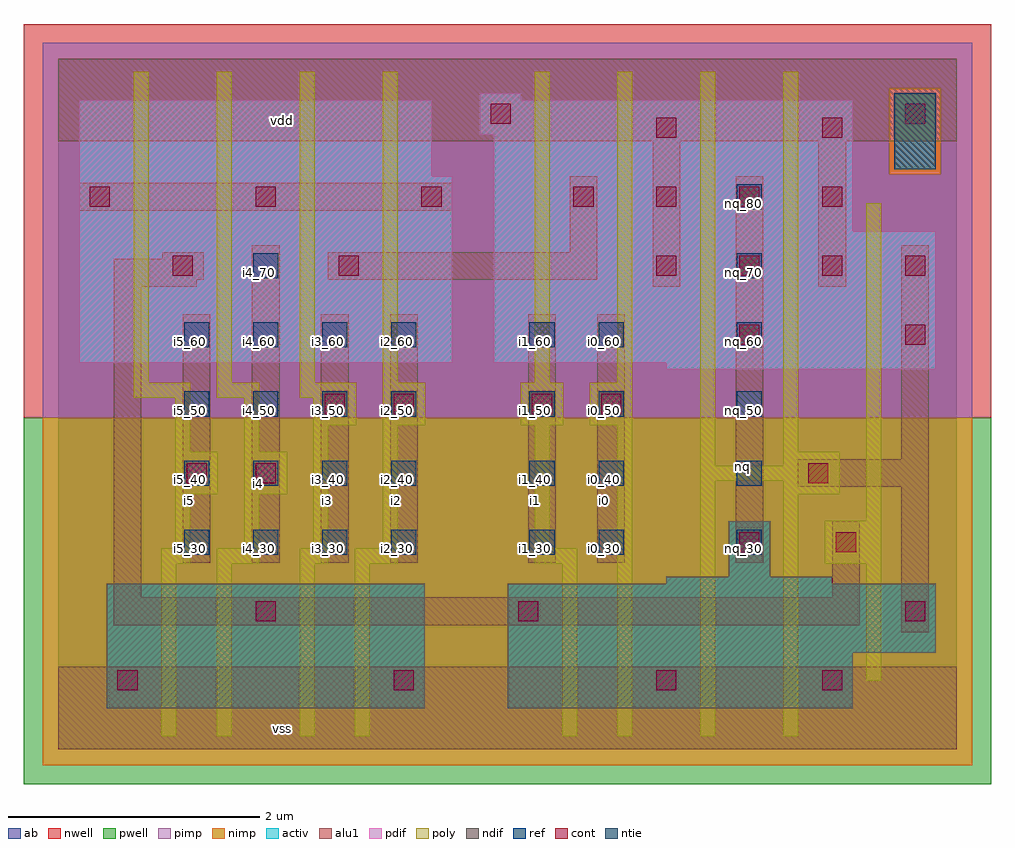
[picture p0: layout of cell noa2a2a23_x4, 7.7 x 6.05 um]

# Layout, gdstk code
import gdstk
lib = gdstk.Library(unit=1e-6, precision=2.5e-09)
def R(c, l, rs):  # rectangles x0, y0, x1, y1
    for r in rs: c.add(gdstk.rectangle(r[:2], r[2:], *l))
def A(c, l, x, y, w, h, nx, ny, dx, dy):  # array of equal rectangles
    R(c, l, [(x+i*dx, y+j*dy, x+i*dx+w, y+j*dy+h) for i in range(nx) for j in range(ny)])
ndif = (3, 0)
pdif = (4, 0)
ntie = (5, 0)
ref = (24, 0)
cont = (25, 0)
pwell = (41, 0)
nwell = (42, 0)
activ = (43, 0)
pimp = (44, 0)
nimp = (45, 0)
poly = (46, 0)
alu1 = (49, 0)
ab = (63, 0)

noa2a2a23_x4 = lib.new_cell('noa2a2a23_x4')
R(noa2a2a23_x4, ndif, [(0.385,0.33,2.915,1.32), (3.575,0.33,6.325,0.77), (3.575,0.77,6.985,1.32), (4.84,1.32,6.16,1.375), (5.335,1.375,5.665,1.815)])
R(noa2a2a23_x4, pdif, [(4.84,3.025,6.985,3.08), (0.165,3.08,3.135,4.565), (3.465,3.08,6.985,4.125), (3.465,4.125,6.325,4.895), (0.165,4.565,2.97,5.17), (3.355,4.895,6.325,5.17), (3.355,5.17,3.685,5.225)])
R(noa2a2a23_x4, ntie, [(6.655,4.62,6.985,5.225)])
A(noa2a2a23_x4, ref, 1, 1.55, 0.2, 0.2, 4, 4, 0.55, 0.55)
A(noa2a2a23_x4, ref, 3.75, 1.55, 0.2, 0.2, 1, 4, 0, 0.55)
A(noa2a2a23_x4, ref, 4.3, 1.55, 0.2, 0.2, 1, 4, 0, 0.55)
A(noa2a2a23_x4, ref, 5.4, 1.55, 0.2, 0.2, 1, 6, 0, 0.55)
R(noa2a2a23_x4, ref, [(1.55,3.75,1.75,3.95)])
A(noa2a2a23_x4, cont, 4.76, 3.77, 0.16, 0.16, 4, 1, 0.66, 0)
A(noa2a2a23_x4, cont, 0.25, 4.32, 0.16, 0.16, 3, 1, 1.32, 0)
A(noa2a2a23_x4, cont, 4.1, 4.32, 0.16, 0.16, 4, 1, 0.66, 0)
R(noa2a2a23_x4, cont, [(0.47,0.47,0.63,0.63), (2.67,0.47,2.83,0.63), (4.76,0.47,4.92,0.63), (6.08,0.47,6.24,0.63), (1.57,1.02,1.73,1.18), (3.66,1.02,3.82,1.18), (6.74,1.02,6.9,1.18), (5.42,1.57,5.58,1.73), (6.19,1.57,6.35,1.73), (1.02,2.12,1.18,2.28), (1.57,2.12,1.73,2.28), (5.97,2.12,6.13,2.28), (2.12,2.67,2.28,2.83), (2.67,2.67,2.83,2.83), (3.77,2.67,3.93,2.83), (4.32,2.67,4.48,2.83), (5.42,3.22,5.58,3.38), (6.74,3.22,6.9,3.38), (0.91,3.77,1.07,3.93), (2.23,3.77,2.39,3.93), (4.76,4.87,4.92,5.03), (6.08,4.87,6.24,5.03), (3.44,4.98,3.6,5.14), (6.74,4.98,6.9,5.14)])
R(noa2a2a23_x4, pwell, [(-0.275,-0.275,7.425,2.64)])
R(noa2a2a23_x4, nwell, [(-0.275,2.64,7.425,5.775)])
R(noa2a2a23_x4, activ, [(0.385,0.33,2.915,1.32), (3.575,0.33,6.325,0.77), (3.575,0.77,6.985,1.32), (4.84,1.32,6.16,1.375), (5.335,1.375,5.665,1.815), (4.84,3.025,6.985,3.08), (0.165,3.08,3.135,4.565), (3.465,3.08,6.985,4.125), (3.465,4.125,6.325,4.895), (0.165,4.565,2.97,5.17), (6.655,4.62,6.985,5.225), (3.355,4.895,6.325,5.17), (3.355,5.17,3.685,5.225)])
R(noa2a2a23_x4, pimp, [(-0.125,2.64,7.275,4.58), (-0.125,4.58,6.615,5.265), (7.025,4.58,7.275,5.265), (-0.125,5.265,7.275,5.625)])
R(noa2a2a23_x4, nimp, [(-0.125,-0.125,7.275,2.64), (6.615,4.58,7.025,5.265)])
A(noa2a2a23_x4, poly, 0.6, 2.92, 0.12, 2.475, 4, 1, 0.66, 0)
R(noa2a2a23_x4, poly, [(0.82,0.105,0.94,1.48), (1.26,0.105,1.38,1.48), (1.92,0.105,2.04,1.48), (2.36,0.105,2.48,1.48), (4.01,0.105,4.13,1.48), (4.45,0.105,4.57,2.58), (5.11,0.105,5.23,2.14), (5.77,0.105,5.89,2.03), (6.43,0.545,6.55,1.48), (0.82,1.48,1.05,1.6), (1.26,1.48,1.6,1.6), (1.92,1.48,2.15,1.6), (2.36,1.48,2.7,1.6), (3.79,1.48,4.13,1.6), (6.1,1.48,6.55,1.82), (0.93,1.6,1.05,2.03), (1.48,1.6,1.6,2.03), (2.03,1.6,2.15,2.58), (2.58,1.6,2.7,2.58), (3.79,1.6,3.91,2.58), (6.43,1.82,6.55,4.35), (0.93,2.03,1.27,2.37), (1.48,2.03,1.82,2.37), (5.77,2.03,6.22,2.14), (5.11,2.14,6.22,2.26), (5.11,2.26,5.23,5.395), (5.77,2.26,6.22,2.37), (0.93,2.37,1.05,2.8), (1.48,2.37,1.6,2.8), (5.77,2.37,5.89,5.395), (2.03,2.58,2.37,2.8), (2.58,2.58,2.92,2.92), (3.68,2.58,4.02,2.92), (4.23,2.58,4.57,2.92), (0.6,2.8,1.05,2.92), (1.26,2.8,1.6,2.92), (1.92,2.8,2.37,2.92), (3.79,2.92,3.91,5.395), (4.45,2.92,4.57,5.395)])
R(noa2a2a23_x4, alu1, [(0,0,7.15,0.66), (6.71,0.935,6.93,2.09), (0.44,0.99,6.38,1.21), (0.44,1.21,0.66,3.685), (6.16,1.21,6.38,1.815), (0.99,1.485,1.21,3.465), (1.54,1.485,1.76,4.015), (2.09,1.485,2.31,3.465), (2.64,1.485,2.86,3.465), (3.74,1.485,3.96,3.465), (4.29,1.485,4.51,3.465), (5.39,1.485,5.61,4.565), (5.885,2.09,6.93,2.31), (6.71,2.31,6.93,4.015), (0.44,3.685,1.1,3.74), (4.73,3.685,4.95,4.84), (6.05,3.685,6.27,4.84), (0.44,3.74,1.155,3.905), (2.145,3.74,4.29,3.96), (0.825,3.905,1.155,3.96), (4.07,3.96,4.29,4.565), (0.165,4.29,3.135,4.51), (0,4.84,7.15,5.5)])
R(noa2a2a23_x4, ab, [(0,0,7.15,5.5)])
noa2a2a23_x4.add(gdstk.Label('vss', (1.7875,0.165), layer=49, texttype=0))
noa2a2a23_x4.add(gdstk.Label('nq', (5.445,2.255), layer=49, texttype=0))
noa2a2a23_x4.add(gdstk.Label('i0', (4.345,1.98), layer=49, texttype=0))
noa2a2a23_x4.add(gdstk.Label('i1', (3.795,1.98), layer=49, texttype=0))
noa2a2a23_x4.add(gdstk.Label('i2', (2.695,1.98), layer=49, texttype=0))
noa2a2a23_x4.add(gdstk.Label('i3', (2.145,1.98), layer=49, texttype=0))
noa2a2a23_x4.add(gdstk.Label('i4', (1.595,2.1175), layer=49, texttype=0))
noa2a2a23_x4.add(gdstk.Label('i5', (1.045,1.98), layer=49, texttype=0))
noa2a2a23_x4.add(gdstk.Label('vdd', (1.7875,5.005), layer=49, texttype=0))
noa2a2a23_x4.add(gdstk.Label('nq_80', (5.45,4.35), layer=24, texttype=0))
noa2a2a23_x4.add(gdstk.Label('nq_30', (5.45,1.6), layer=24, texttype=0))
noa2a2a23_x4.add(gdstk.Label('nq_70', (5.45,3.8), layer=24, texttype=0))
noa2a2a23_x4.add(gdstk.Label('nq_60', (5.45,3.25), layer=24, texttype=0))
noa2a2a23_x4.add(gdstk.Label('nq_50', (5.45,2.7), layer=24, texttype=0))
noa2a2a23_x4.add(gdstk.Label('nq_40', (5.45,2.15), layer=24, texttype=0))
noa2a2a23_x4.add(gdstk.Label('i0_30', (4.35,1.6), layer=24, texttype=0))
noa2a2a23_x4.add(gdstk.Label('i0_60', (4.35,3.25), layer=24, texttype=0))
noa2a2a23_x4.add(gdstk.Label('i1_60', (3.8,3.25), layer=24, texttype=0))
noa2a2a23_x4.add(gdstk.Label('i1_50', (3.8,2.7), layer=24, texttype=0))
noa2a2a23_x4.add(gdstk.Label('i1_30', (3.8,1.6), layer=24, texttype=0))
noa2a2a23_x4.add(gdstk.Label('i1_40', (3.8,2.15), layer=24, texttype=0))
noa2a2a23_x4.add(gdstk.Label('i0_50', (4.35,2.7), layer=24, texttype=0))
noa2a2a23_x4.add(gdstk.Label('i0_40', (4.35,2.15), layer=24, texttype=0))
noa2a2a23_x4.add(gdstk.Label('i4_70', (1.6,3.8), layer=24, texttype=0))
noa2a2a23_x4.add(gdstk.Label('i4_60', (1.6,3.25), layer=24, texttype=0))
noa2a2a23_x4.add(gdstk.Label('i4_50', (1.6,2.7), layer=24, texttype=0))
noa2a2a23_x4.add(gdstk.Label('i4_40', (1.6,2.15), layer=24, texttype=0))
noa2a2a23_x4.add(gdstk.Label('i4_30', (1.6,1.6), layer=24, texttype=0))
noa2a2a23_x4.add(gdstk.Label('i3_40', (2.15,2.15), layer=24, texttype=0))
noa2a2a23_x4.add(gdstk.Label('i2_60', (2.7,3.25), layer=24, texttype=0))
noa2a2a23_x4.add(gdstk.Label('i2_50', (2.7,2.7), layer=24, texttype=0))
noa2a2a23_x4.add(gdstk.Label('i2_40', (2.7,2.15), layer=24, texttype=0))
noa2a2a23_x4.add(gdstk.Label('i2_30', (2.7,1.6), layer=24, texttype=0))
noa2a2a23_x4.add(gdstk.Label('i3_60', (2.15,3.25), layer=24, texttype=0))
noa2a2a23_x4.add(gdstk.Label('i3_50', (2.15,2.7), layer=24, texttype=0))
noa2a2a23_x4.add(gdstk.Label('i3_30', (2.15,1.6), layer=24, texttype=0))
noa2a2a23_x4.add(gdstk.Label('i5_30', (1.05,1.6), layer=24, texttype=0))
noa2a2a23_x4.add(gdstk.Label('i5_60', (1.05,3.25), layer=24, texttype=0))
noa2a2a23_x4.add(gdstk.Label('i5_50', (1.05,2.7), layer=24, texttype=0))
noa2a2a23_x4.add(gdstk.Label('i5_40', (1.05,2.15), layer=24, texttype=0))

lib.write_gds('noa2a2a23_x4.gds')
